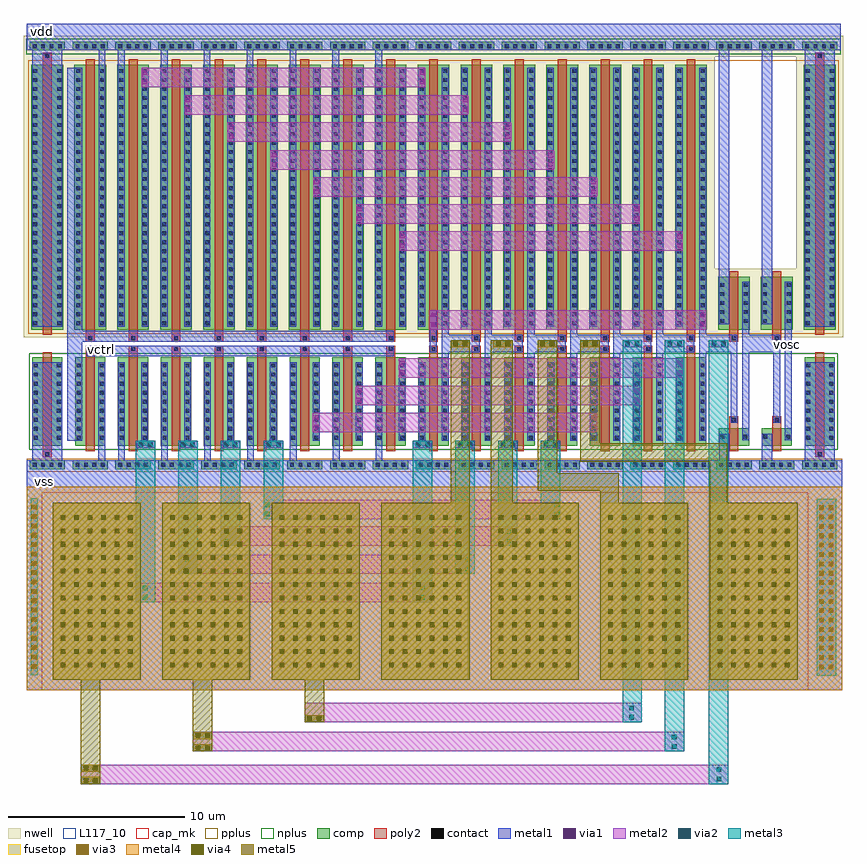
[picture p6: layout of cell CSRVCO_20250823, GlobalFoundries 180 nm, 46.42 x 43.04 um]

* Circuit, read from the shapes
.subckt CSRVCO_20250823 vctrl vdd vosc vss
XM1 vss vss vss vss nfet_03v3 w=5u l=0.5u m=2
XM2 vss vctrl n1 vss nfet_03v3 w=5u l=0.5u
XM3 n2 vctrl vss vss nfet_03v3 w=5u l=0.5u
XM4 n3 vctrl vss vss nfet_03v3 w=5u l=0.5u
XM5 n4 vctrl vss vss nfet_03v3 w=5u l=0.5u
XM6 n5 vctrl vss vss nfet_03v3 w=5u l=0.5u
XM7 n6 vctrl vss vss nfet_03v3 w=5u l=0.5u
XM8 n7 vctrl vss vss nfet_03v3 w=5u l=0.5u
XM9 n8 vctrl vss vss nfet_03v3 w=5u l=0.5u
XM10 n9 n10 n2 vss nfet_03v3 w=5u l=0.5u
XM11 n11 n9 n3 vss nfet_03v3 w=5u l=0.5u
XM12 n12 n11 n4 vss nfet_03v3 w=5u l=0.5u
XM13 n13 n12 n5 vss nfet_03v3 w=5u l=0.5u
XM14 n14 n13 n6 vss nfet_03v3 w=5u l=0.5u
XM15 n15 n14 n7 vss nfet_03v3 w=5u l=0.5u
XM16 n10 n15 n8 vss nfet_03v3 w=5u l=0.5u
XM17 n16 n10 vss vss nfet_03v3 w=1u l=0.5u
XM18 vosc n16 vss vss nfet_03v3 w=1u l=0.5u
XM19 vdd vdd vdd vdd pfet_03v3 w=15u l=0.5u m=2
XM20 vdd n1 n1 vdd pfet_03v3 w=15u l=0.5u
XM21 n17 n1 vdd vdd pfet_03v3 w=15u l=0.5u
XM22 n18 n1 vdd vdd pfet_03v3 w=15u l=0.5u
XM23 n19 n1 vdd vdd pfet_03v3 w=15u l=0.5u
XM24 n20 n1 vdd vdd pfet_03v3 w=15u l=0.5u
XM25 n21 n1 vdd vdd pfet_03v3 w=15u l=0.5u
XM26 n22 n1 vdd vdd pfet_03v3 w=15u l=0.5u
XM27 n23 n1 vdd vdd pfet_03v3 w=15u l=0.5u
XM28 n9 n10 n17 vdd pfet_03v3 w=15u l=0.5u
XM29 n11 n9 n18 vdd pfet_03v3 w=15u l=0.5u
XM30 n12 n11 n19 vdd pfet_03v3 w=15u l=0.5u
XM31 n13 n12 n20 vdd pfet_03v3 w=15u l=0.5u
XM32 n14 n13 n21 vdd pfet_03v3 w=15u l=0.5u
XM33 n15 n14 n22 vdd pfet_03v3 w=15u l=0.5u
XM34 n10 n15 n23 vdd pfet_03v3 w=15u l=0.5u
XM35 n16 n10 vdd vdd pfet_03v3 w=3u l=0.5u
XM36 vosc n16 vdd vdd pfet_03v3 w=3u l=0.5u
XC37 n10 vss cap_mim_2f0fF c_width=5u c_length=10u
XC38 n15 vss cap_mim_2f0fF c_width=5u c_length=10u
XC39 n14 vss cap_mim_2f0fF c_width=5u c_length=10u
XC40 n9 vss cap_mim_2f0fF c_width=5u c_length=10u
XC41 n11 vss cap_mim_2f0fF c_width=5u c_length=10u
XC42 n12 vss cap_mim_2f0fF c_width=5u c_length=10u
XC43 n13 vss cap_mim_2f0fF c_width=5u c_length=10u
.ends

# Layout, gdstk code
from math import pi, radians
import gdstk
lib = gdstk.Library(unit=1e-6, precision=5e-09)
def R(c, l, rs):  # rectangles x0, y0, x1, y1
    for r in rs: c.add(gdstk.rectangle(r[:2], r[2:], *l))
def A(c, l, x, y, w, h, nx, ny, dx, dy):  # array of equal rectangles
    R(c, l, [(x+i*dx, y+j*dy, x+i*dx+w, y+j*dy+h) for i in range(nx) for j in range(ny)])
nwell = (21, 0)
comp = (22, 0)
poly2 = (30, 0)
pplus = (31, 0)
nplus = (32, 0)
contact = (33, 0)
metal1 = (34, 0)
via1 = (35, 0)
metal2 = (36, 0)
via2 = (38, 0)
via3 = (40, 0)
via4 = (41, 0)
metal3 = (42, 0)
metal4 = (46, 0)
fusetop = (75, 0)
metal5 = (81, 0)
cap_mk = (117, 5)
L117_10 = (117, 10)

via_dev_780 = lib.new_cell('via_dev$780')
R(via_dev_780, comp, [(0,0,2,0.5)])
A(via_dev_780, contact, 0.17, 0.14, 0.22, 0.22, 4, 1, 0.48, 0)
R(via_dev_780, metal1, [(0,0,2,0.5)])

nfet_271 = lib.new_cell('nfet$271')
R(nfet_271, comp, [(-0.42,0,0,5), (0,0,0.88,5), (0.88,0,1.3,5)])
R(nfet_271, poly2, [(0.19,-0.3,0.69,5.3), (0.19,5.3,0.69,5.66)])
R(nfet_271, nplus, [(-0.59,-0.24,1.47,5.24)])
A(nfet_271, contact, -0.32, 0.35, 0.22, 0.22, 1, 9, 0, 0.51)
A(nfet_271, contact, 0.98, 0.35, 0.22, 0.22, 1, 9, 0, 0.51)
R(nfet_271, contact, [(0.33,5.37,0.55,5.59)])
R(nfet_271, metal1, [(-0.4,0.27,-0.02,4.73), (0.9,0.27,1.28,4.73), (0.25,5.29,0.63,5.67)])

pfet_256 = lib.new_cell('pfet$256')
R(pfet_256, nwell, [(-0.9,-0.44,1.78,15.44)])
R(pfet_256, comp, [(-0.46,0,0,15), (0,0,0.88,15), (0.88,0,1.34,15)])
R(pfet_256, poly2, [(0.19,-0.68,0.69,-0.3), (0.19,-0.3,0.69,15.3)])
R(pfet_256, pplus, [(-0.63,-0.24,1.51,15.24)])
A(pfet_256, contact, -0.34, 0.25, 0.22, 0.22, 1, 29, 0, 0.51)
A(pfet_256, contact, 1, 0.25, 0.22, 0.22, 1, 29, 0, 0.51)
R(pfet_256, contact, [(0.33,-0.6,0.55,-0.38)])
R(pfet_256, metal1, [(0.25,-0.68,0.63,-0.3), (-0.42,0.17,-0.04,14.83), (0.92,0.17,1.3,14.83)])

nfet_272 = lib.new_cell('nfet$272')
R(nfet_272, comp, [(-0.42,0,0,5), (0,0,0.88,5), (0.88,0,1.3,5)])
R(nfet_272, poly2, [(0.19,-0.66,0.69,-0.3), (0.19,-0.3,0.69,5.3)])
R(nfet_272, nplus, [(-0.59,-0.24,1.47,5.24)])
A(nfet_272, contact, -0.32, 0.35, 0.22, 0.22, 1, 9, 0, 0.51)
A(nfet_272, contact, 0.98, 0.35, 0.22, 0.22, 1, 9, 0, 0.51)
R(nfet_272, contact, [(0.33,-0.59,0.55,-0.37)])
R(nfet_272, metal1, [(0.25,-0.67,0.63,-0.29), (-0.4,0.27,-0.02,4.73), (0.9,0.27,1.28,4.73)])

via_dev_781 = lib.new_cell('via_dev$781')
R(via_dev_781, metal1, [(0,0,1.1,0.4)])
R(via_dev_781, via1, [(0.155,0.07,0.415,0.33), (0.685,0.07,0.945,0.33)])
R(via_dev_781, metal2, [(0,0,1.1,0.4)])

via_dev_782 = lib.new_cell('via_dev$782')
R(via_dev_782, metal1, [(0,0,1.1,0.4)])
R(via_dev_782, via1, [(0.155,0.07,0.415,0.33), (0.685,0.07,0.945,0.33)])
R(via_dev_782, metal2, [(0,0,1.1,0.4)])
R(via_dev_782, via2, [(0.155,0.07,0.415,0.33), (0.685,0.07,0.945,0.33)])
R(via_dev_782, metal3, [(0,0,1.1,0.4)])

cap_mim = lib.new_cell('cap_mim')
A(cap_mim, via4, 0.69, 0.47, 0.26, 0.26, 12, 6, 0.76, 0.76)
R(cap_mim, metal4, [(-0.6,-0.6,10.6,5.6)])
R(cap_mim, fusetop, [(0,0,10,5)])
R(cap_mim, metal5, [(0,0,10,5)])
R(cap_mim, cap_mk, [(-0.6,-0.6,10.6,5.6)])
R(cap_mim, L117_10, [(0,0,10,0.1)])

pfet_257 = lib.new_cell('pfet$257')
R(pfet_257, nwell, [(-0.9,-0.44,1.78,15.44)])
R(pfet_257, comp, [(-0.46,0,0,15), (0,0,0.88,15), (0.88,0,1.34,15)])
R(pfet_257, poly2, [(0.19,-0.3,0.69,15.3), (0.19,15.3,0.69,15.68)])
R(pfet_257, pplus, [(-0.63,-0.24,1.51,15.24)])
A(pfet_257, contact, -0.34, 0.25, 0.22, 0.22, 1, 29, 0, 0.51)
A(pfet_257, contact, 1, 0.25, 0.22, 0.22, 1, 29, 0, 0.51)
R(pfet_257, contact, [(0.33,15.38,0.55,15.6)])
R(pfet_257, metal1, [(-0.42,0.17,-0.04,14.83), (0.92,0.17,1.3,14.83), (0.25,15.3,0.63,15.68)])

via_dev_783 = lib.new_cell('via_dev$783')
R(via_dev_783, metal1, [(0,0,1.1,0.4)])
R(via_dev_783, via1, [(0.155,0.07,0.415,0.33), (0.685,0.07,0.945,0.33)])
R(via_dev_783, metal2, [(0,0,1.1,0.4)])
R(via_dev_783, via2, [(0.155,0.07,0.415,0.33), (0.685,0.07,0.945,0.33)])
R(via_dev_783, via3, [(0.155,0.07,0.415,0.33), (0.685,0.07,0.945,0.33)])
R(via_dev_783, via4, [(0.155,0.07,0.415,0.33), (0.685,0.07,0.945,0.33)])
R(via_dev_783, metal3, [(0,0,1.1,0.4)])
R(via_dev_783, metal4, [(0,0,1.1,0.4)])
R(via_dev_783, metal5, [(0,0,1.1,0.4)])

pfet_258 = lib.new_cell('pfet$258')
R(pfet_258, nwell, [(-0.9,-0.44,1.78,3.44)])
R(pfet_258, comp, [(-0.46,0,0,3), (0,0,0.88,3), (0.88,0,1.34,3)])
R(pfet_258, poly2, [(0.19,-0.68,0.69,-0.3), (0.19,-0.3,0.69,3.3)])
R(pfet_258, pplus, [(-0.63,-0.24,1.51,3.24)])
A(pfet_258, contact, -0.34, 0.37, 0.22, 0.22, 1, 5, 0, 0.51)
A(pfet_258, contact, 1, 0.37, 0.22, 0.22, 1, 5, 0, 0.51)
R(pfet_258, contact, [(0.33,-0.6,0.55,-0.38)])
R(pfet_258, metal1, [(0.25,-0.68,0.63,-0.3), (-0.42,0.29,-0.04,2.71), (0.92,0.29,1.3,2.71)])

via_dev_784 = lib.new_cell('via_dev$784')

via_dev_785 = lib.new_cell('via_dev$785')
R(via_dev_785, metal2, [(0,0,1.1,0.4)])
R(via_dev_785, via2, [(0.155,0.07,0.415,0.33), (0.685,0.07,0.945,0.33)])
R(via_dev_785, metal3, [(0,0,1.1,0.4)])

via_dev_786 = lib.new_cell('via_dev$786')
R(via_dev_786, metal1, [(0,0,10,0.4)])
A(via_dev_786, via1, 0.365, 0.07, 0.26, 0.26, 18, 1, 0.53, 0)
R(via_dev_786, metal2, [(0,0,10,0.4)])
A(via_dev_786, via2, 0.365, 0.07, 0.26, 0.26, 18, 1, 0.53, 0)
A(via_dev_786, via3, 0.365, 0.07, 0.26, 0.26, 18, 1, 0.53, 0)
R(via_dev_786, metal3, [(0,0,10,0.4)])
R(via_dev_786, metal4, [(0,0,10,0.4)])

via_dev_787 = lib.new_cell('via_dev$787')
R(via_dev_787, metal2, [(0,0,1.1,0.4)])
R(via_dev_787, via2, [(0.155,0.07,0.415,0.33), (0.685,0.07,0.945,0.33)])
R(via_dev_787, via3, [(0.155,0.07,0.415,0.33), (0.685,0.07,0.945,0.33)])
R(via_dev_787, via4, [(0.155,0.07,0.415,0.33), (0.685,0.07,0.945,0.33)])
R(via_dev_787, metal3, [(0,0,1.1,0.4)])
R(via_dev_787, metal4, [(0,0,1.1,0.4)])
R(via_dev_787, metal5, [(0,0,1.1,0.4)])

nfet_273 = lib.new_cell('nfet$273')
R(nfet_273, comp, [(-0.42,0,0,1), (0,0,0.88,1), (0.88,0,1.3,1)])
R(nfet_273, poly2, [(0.19,-0.3,0.69,1.3), (0.19,1.3,0.69,1.66)])
R(nfet_273, nplus, [(-0.59,-0.24,1.47,1.24)])
R(nfet_273, contact, [(-0.32,0.39,-0.1,0.61), (0.98,0.39,1.2,0.61), (0.33,1.37,0.55,1.59)])
R(nfet_273, metal1, [(-0.4,0.31,-0.02,0.69), (0.9,0.31,1.28,0.69), (0.25,1.29,0.63,1.67)])

via_dev_788 = lib.new_cell('via_dev$788')
R(via_dev_788, metal1, [(0,0,10,1.1)])
A(via_dev_788, via1, 0.365, 0.155, 0.26, 0.26, 18, 2, 0.53, 0.53)
R(via_dev_788, metal2, [(0,0,10,1.1)])
A(via_dev_788, via2, 0.365, 0.155, 0.26, 0.26, 18, 2, 0.53, 0.53)
A(via_dev_788, via3, 0.365, 0.155, 0.26, 0.26, 18, 2, 0.53, 0.53)
R(via_dev_788, metal3, [(0,0,10,1.1)])
R(via_dev_788, metal4, [(0,0,10,1.1)])

csrvco_20250823 = lib.new_cell('CSRVCO_20250823')
A(csrvco_20250823, nwell, -82.58, 23.08, 2.68, 1.185, 19, 1, 2.43, 0)
A(csrvco_20250823, pplus, -82.39, -0.415, 2.435, 0.75, 19, 1, 2.43, 0)
A(csrvco_20250823, pplus, -80.17, 7.4, 0.29, 15.48, 18, 1, 2.43, 0)
R(csrvco_20250823, pplus, [(-43.43,10.88,-41.29,22.88), (-41,10.88,-38.86,22.88)])
A(csrvco_20250823, nplus, -80.21, 0.82, 0.37, 5.48, 18, 1, 2.43, 0)
A(csrvco_20250823, nplus, -82.425, 23.24, 2.385, 0.865, 19, 1, 2.43, 0)
A(csrvco_20250823, nplus, -80.04, 23.24, 0.045, 0.865, 18, 1, 2.43, 0)
R(csrvco_20250823, nplus, [(-43.39,2.3,-41.33,6.3), (-40.96,2.3,-38.9,6.3)])
A(csrvco_20250823, metal1, -82.39, -1.275, 2.43, 1.5, 19, 1, 2.43, 0)
A(csrvco_20250823, metal1, -82.39, -0.275, 0.15, 0.5, 19, 2, 2.43, 23.715)
A(csrvco_20250823, metal1, -77.22, -0.275, 0.38, 1.99, 7, 1, 2.43, 0)
A(csrvco_20250823, metal1, -58.91, 1.33, 0.4, 21.14, 7, 1, 2.43, 0)
A(csrvco_20250823, metal1, -59.56, 6.35, 0.38, 0.99, 7, 1, 2.43, 0)
A(csrvco_20250823, metal1, -58.91, 6.35, 2.16, 0.99, 8, 1, 2.43, 0)
A(csrvco_20250823, metal1, -77.24, 19.93, 0.38, 4.01, 7, 1, 2.43, 0)
A(csrvco_20250823, metal1, -82.39, 23.44, 2.35, 1.5, 19, 1, 2.43, 0)
A(csrvco_20250823, metal1, -80.04, 23.44, 0.08, 1.5, 18, 1, 2.43, 0)
R(csrvco_20250823, metal1, [(-82.39,-12.78,-36.22,-1.275), (-82.08,-0.275,-80.4,5.79), (-78.35,-0.275,-77.97,1.715), (-43.2,-0.275,-42.61,1.75), (-40.77,-0.275,-40.185,1.75), (-38.34,-0.275,-36.66,5.79), (-80.095,1.33,-79.27,22.47), (-41.9,1.37,-41.5,10.35), (-39.47,1.37,-39.07,10.35), (-42.55,2.35,-42.17,7.34), (-40.12,2.35,-39.74,7.34), (-79,6.115,-61.61,6.73), (-59.58,6.35,-59.18,7.64), (-80.095,6.96,-61.61,7.575), (-82.1,7.81,-80.38,23.94), (-38.36,7.81,-36.64,23.94), (-43.22,7.93,-42.61,23.94), (-40.79,7.93,-40.18,23.94), (-78.33,19.935,-77.95,23.945)])
R(csrvco_20250823, metal2, [(-79.34,-18.095,-42.67,-16.995), (-72.99,-16.245,-45.165,-15.145), (-66.67,-14.6,-47.565,-13.5), (-76.225,-7.805,-59.435,-6.705), (-73.825,-6.2,-57.03,-5.1), (-71.415,-4.61,-54.615,-3.51), (-68.97,-3.095,-52.19,-1.995), (-66.2,1.835,-50.11,2.94), (-63.77,3.365,-47.68,4.47), (-61.34,4.92,-45.25,6.025), (-59.58,7.64,-43.93,8.74), (-61.32,12.105,-45.25,13.21), (-63.75,13.64,-47.68,14.745), (-66.18,15.17,-50.11,16.275), (-68.61,16.695,-52.54,17.8), (-71.04,18.28,-54.97,19.385), (-73.465,19.81,-57.395,20.915), (-75.9,21.37,-59.83,22.475)])
R(csrvco_20250823, metal3, [(-43.77,-18.095,-42.67,6.635), (-46.265,-16.245,-45.165,6.635), (-48.665,-14.6,-47.565,7.035), (-76.225,-7.805,-75.125,0.93), (-60.535,-7.805,-59.435,0.93), (-73.825,-6.2,-72.725,1.33), (-58.13,-6.2,-57.03,0.93), (-71.415,-4.61,-70.315,1.33), (-55.71,-4.61,-54.615,1.33), (-68.97,-3.095,-67.87,1.33), (-53.29,-3.095,-52.19,1.33)])
R(csrvco_20250823, metal4, [(-82.39,-12.78,-36.22,-1.275)])
R(csrvco_20250823, metal5, [(-79.34,-18.095,-78.24,-12.18), (-72.99,-16.245,-71.89,-12.18), (-66.67,-14.6,-65.57,-12.18), (-58.405,-12.18,-57.305,7.035), (-56.14,-2.18,-54.88,7.035), (-49.94,-2.18,-48.885,-1.5), (-43.74,-2.18,-42.73,0.145), (-53.475,-1.5,-52.375,6.635), (-53.475,-1.5,-48.885,-0.495), (-51.055,0.145,-49.955,6.635), (-51.055,0.145,-42.73,1.205)])
csrvco_20250823.add(gdstk.Reference(via_dev_780, (-60.37,23.44)))
csrvco_20250823.add(gdstk.Reference(via_dev_780, (-60.37,-0.275)))
csrvco_20250823.add(gdstk.Reference(nfet_271, (-52.52,1.06)))
csrvco_20250823.add(gdstk.Reference(nfet_271, (-54.95,1.06)))
csrvco_20250823.add(gdstk.Reference(nfet_271, (-57.38,1.06)))
csrvco_20250823.add(gdstk.Reference(pfet_256, (-59.81,7.64)))
csrvco_20250823.add(gdstk.Reference(nfet_271, (-59.81,1.06)))
csrvco_20250823.add(gdstk.Reference(nfet_271, (-45.23,1.06)))
csrvco_20250823.add(gdstk.Reference(nfet_271, (-50.09,1.06)))
csrvco_20250823.add(gdstk.Reference(nfet_272, (-37.94,1.06)))
csrvco_20250823.add(gdstk.Reference(nfet_271, (-74.39,1.06)))
csrvco_20250823.add(gdstk.Reference(nfet_271, (-76.82,1.06)))
csrvco_20250823.add(gdstk.Reference(nfet_271, (-79.25,1.06)))
csrvco_20250823.add(gdstk.Reference(nfet_272, (-81.68,1.06)))
csrvco_20250823.add(gdstk.Reference(nfet_271, (-64.67,1.06)))
csrvco_20250823.add(gdstk.Reference(nfet_271, (-67.1,1.06)))
csrvco_20250823.add(gdstk.Reference(nfet_271, (-69.53,1.06)))
csrvco_20250823.add(gdstk.Reference(nfet_271, (-71.96,1.06)))
csrvco_20250823.add(gdstk.Reference(nfet_271, (-62.24,1.06)))
csrvco_20250823.add(gdstk.Reference(nfet_271, (-47.66,1.06)))
csrvco_20250823.add(gdstk.Reference(via_dev_781, (-50.11,1.835), rotation=pi/2))
csrvco_20250823.add(gdstk.Reference(via_dev_781, (-65.8,1.84), rotation=pi/2))
csrvco_20250823.add(gdstk.Reference(via_dev_782, (-60.535,0.93)))
csrvco_20250823.add(gdstk.Reference(cap_mim, (-57.34,-12.18), rotation=pi/2))
csrvco_20250823.add(gdstk.Reference(via_dev_782, (-46.265,6.635)))
csrvco_20250823.add(gdstk.Reference(pfet_256, (-52.52,7.64)))
csrvco_20250823.add(gdstk.Reference(pfet_257, (-37.94,7.64)))
csrvco_20250823.add(gdstk.Reference(via_dev_780, (-55.51,23.44)))
csrvco_20250823.add(gdstk.Reference(via_dev_780, (-38.5,23.44)))
csrvco_20250823.add(gdstk.Reference(via_dev_783, (-53.475,6.635)))
csrvco_20250823.add(gdstk.Reference(pfet_256, (-57.38,7.64)))
csrvco_20250823.add(gdstk.Reference(via_dev_783, (-57.305,7.035), rotation=pi))
csrvco_20250823.add(gdstk.Reference(pfet_256, (-45.23,7.64)))
csrvco_20250823.add(gdstk.Reference(via_dev_780, (-57.94,23.44)))
csrvco_20250823.add(gdstk.Reference(via_dev_783, (-51.055,6.635)))
csrvco_20250823.add(gdstk.Reference(via_dev_782, (-43.77,6.635)))
csrvco_20250823.add(gdstk.Reference(via_dev_780, (-53.08,23.44)))
csrvco_20250823.add(gdstk.Reference(via_dev_783, (-55.98,6.635)))
csrvco_20250823.add(gdstk.Reference(via_dev_782, (-48.665,6.635)))
csrvco_20250823.add(gdstk.Reference(via_dev_780, (-50.65,23.44)))
csrvco_20250823.add(gdstk.Reference(via_dev_780, (-43.36,23.44)))
csrvco_20250823.add(gdstk.Reference(pfet_258, (-42.8,7.64)))
csrvco_20250823.add(gdstk.Reference(via_dev_780, (-40.93,23.44)))
csrvco_20250823.add(gdstk.Reference(pfet_258, (-40.37,7.64)))
csrvco_20250823.add(gdstk.Reference(pfet_256, (-54.95,7.64)))
csrvco_20250823.add(gdstk.Reference(via_dev_781, (-59.18,7.64), rotation=pi/2))
csrvco_20250823.add(gdstk.Reference(via_dev_781, (-43.93,7.64), rotation=pi/2))
csrvco_20250823.add(gdstk.Reference(via_dev_781, (-57.395,19.81), rotation=pi/2))
csrvco_20250823.add(gdstk.Reference(via_dev_781, (-54.97,18.28), rotation=pi/2))
csrvco_20250823.add(gdstk.Reference(via_dev_781, (-52.54,16.695), rotation=pi/2))
csrvco_20250823.add(gdstk.Reference(via_dev_781, (-50.11,15.17), rotation=pi/2))
csrvco_20250823.add(gdstk.Reference(via_dev_781, (-47.68,13.64), rotation=pi/2))
csrvco_20250823.add(gdstk.Reference(via_dev_781, (-45.25,12.105), rotation=pi/2))
csrvco_20250823.add(gdstk.Reference(via_dev_781, (-45.25,4.92), rotation=pi/2))
csrvco_20250823.add(gdstk.Reference(via_dev_781, (-47.68,3.365), rotation=pi/2))
csrvco_20250823.add(gdstk.Reference(via_dev_780, (-45.79,23.44)))
csrvco_20250823.add(gdstk.Reference(pfet_256, (-47.66,7.64)))
csrvco_20250823.add(gdstk.Reference(via_dev_780, (-48.22,23.44)))
csrvco_20250823.add(gdstk.Reference(pfet_256, (-50.09,7.64)))
csrvco_20250823.add(gdstk.Reference(pfet_256, (-76.82,7.64)))
csrvco_20250823.add(gdstk.Reference(via_dev_780, (-72.52,23.44)))
csrvco_20250823.add(gdstk.Reference(pfet_256, (-64.67,7.64)))
csrvco_20250823.add(gdstk.Reference(pfet_256, (-74.39,7.64)))
csrvco_20250823.add(gdstk.Reference(via_dev_780, (-77.38,23.44)))
csrvco_20250823.add(gdstk.Reference(via_dev_780, (-65.23,23.44)))
csrvco_20250823.add(gdstk.Reference(via_dev_781, (-75.5,21.375), rotation=pi/2))
csrvco_20250823.add(gdstk.Reference(via_dev_781, (-59.83,21.37), rotation=pi/2))
csrvco_20250823.add(gdstk.Reference(via_dev_781, (-73.065,19.815), rotation=pi/2))
csrvco_20250823.add(gdstk.Reference(pfet_256, (-67.1,7.64)))
csrvco_20250823.add(gdstk.Reference(via_dev_781, (-70.64,18.285), rotation=pi/2))
csrvco_20250823.add(gdstk.Reference(pfet_256, (-79.25,7.64)))
csrvco_20250823.add(gdstk.Reference(via_dev_781, (-68.21,16.7), rotation=pi/2))
csrvco_20250823.add(gdstk.Reference(via_dev_780, (-67.66,23.44)))
csrvco_20250823.add(gdstk.Reference(via_dev_781, (-65.78,15.175), rotation=pi/2))
csrvco_20250823.add(gdstk.Reference(pfet_256, (-69.53,7.64)))
csrvco_20250823.add(gdstk.Reference(via_dev_781, (-63.35,13.645), rotation=pi/2))
csrvco_20250823.add(gdstk.Reference(via_dev_780, (-82.24,23.44)))
csrvco_20250823.add(gdstk.Reference(via_dev_781, (-60.92,12.11), rotation=pi/2))
csrvco_20250823.add(gdstk.Reference(via_dev_780, (-70.09,23.44)))
csrvco_20250823.add(gdstk.Reference(via_dev_781, (-60.94,4.925), rotation=pi/2))
csrvco_20250823.add(gdstk.Reference(pfet_256, (-71.96,7.64)))
csrvco_20250823.add(gdstk.Reference(via_dev_781, (-63.37,3.37), rotation=pi/2))
csrvco_20250823.add(gdstk.Reference(via_dev_780, (-74.95,23.44)))
csrvco_20250823.add(gdstk.Reference(pfet_256, (-62.24,7.64)))
csrvco_20250823.add(gdstk.Reference(via_dev_780, (-79.81,23.44)))
csrvco_20250823.add(gdstk.Reference(via_dev_780, (-62.8,23.44)))
csrvco_20250823.add(gdstk.Reference(pfet_257, (-81.68,7.64)))
csrvco_20250823.add(gdstk.Reference(via_dev_780, (-79.81,-0.275)))
csrvco_20250823.add(gdstk.Reference(via_dev_780, (-62.8,-0.275)))
csrvco_20250823.add(gdstk.Reference(via_dev_780, (-67.66,-0.275)))
csrvco_20250823.add(gdstk.Reference(via_dev_780, (-72.52,-0.275)))
csrvco_20250823.add(gdstk.Reference(via_dev_780, (-77.38,-0.275)))
csrvco_20250823.add(gdstk.Reference(via_dev_784, (-83.04,-0.865), rotation=pi/2))
csrvco_20250823.add(gdstk.Reference(via_dev_780, (-70.09,-0.275)))
csrvco_20250823.add(gdstk.Reference(via_dev_784, (-80.61,-0.865), rotation=pi/2))
csrvco_20250823.add(gdstk.Reference(via_dev_780, (-65.23,-0.275)))
csrvco_20250823.add(gdstk.Reference(via_dev_782, (-68.97,0.93)))
csrvco_20250823.add(gdstk.Reference(via_dev_782, (-71.415,0.93)))
csrvco_20250823.add(gdstk.Reference(via_dev_782, (-73.825,0.93)))
csrvco_20250823.add(gdstk.Reference(via_dev_782, (-76.225,0.93)))
csrvco_20250823.add(gdstk.Reference(via_dev_785, (-68.565,-3.095), rotation=pi/2))
csrvco_20250823.add(gdstk.Reference(via_dev_785, (-70.855,-4.61), rotation=pi/2))
csrvco_20250823.add(gdstk.Reference(via_dev_785, (-73.135,-6.2), rotation=pi/2))
csrvco_20250823.add(gdstk.Reference(via_dev_785, (-59.76,-7.805), rotation=pi/2))
csrvco_20250823.add(gdstk.Reference(via_dev_785, (-75.49,-7.805), rotation=pi/2))
csrvco_20250823.add(gdstk.Reference(via_dev_780, (-82.24,-0.275)))
csrvco_20250823.add(gdstk.Reference(cap_mim, (-63.54,-12.18), rotation=pi/2))
csrvco_20250823.add(gdstk.Reference(cap_mim, (-69.74,-12.18), rotation=pi/2))
csrvco_20250823.add(gdstk.Reference(cap_mim, (-75.94,-12.18), rotation=pi/2))
csrvco_20250823.add(gdstk.Reference(via_dev_786, (-81.78,-11.925), rotation=pi/2))
csrvco_20250823.add(gdstk.Reference(via_dev_787, (-72.99,-16.245)))
csrvco_20250823.add(gdstk.Reference(via_dev_787, (-72.99,-15.56)))
csrvco_20250823.add(gdstk.Reference(via_dev_787, (-66.67,-14.595)))
csrvco_20250823.add(gdstk.Reference(via_dev_787, (-79.34,-18.095)))
csrvco_20250823.add(gdstk.Reference(via_dev_787, (-79.34,-17.395)))
csrvco_20250823.add(gdstk.Reference(via_dev_780, (-74.95,-0.275)))
csrvco_20250823.add(gdstk.Reference(via_dev_785, (-52.19,-3.095), rotation=pi/2))
csrvco_20250823.add(gdstk.Reference(via_dev_785, (-45.535,-16.245), rotation=pi/2))
csrvco_20250823.add(gdstk.Reference(via_dev_785, (-54.9,-4.61), rotation=pi/2))
csrvco_20250823.add(gdstk.Reference(via_dev_780, (-55.51,-0.275)))
csrvco_20250823.add(gdstk.Reference(via_dev_785, (-57.235,-6.2), rotation=pi/2))
csrvco_20250823.add(gdstk.Reference(via_dev_780, (-57.94,-0.275)))
csrvco_20250823.add(gdstk.Reference(via_dev_780, (-48.22,-0.275)))
csrvco_20250823.add(gdstk.Reference(via_dev_780, (-43.36,-0.275)))
csrvco_20250823.add(gdstk.Reference(cap_mim, (-38.74,-12.18), rotation=pi/2))
csrvco_20250823.add(gdstk.Reference(cap_mim, (-44.94,-12.18), rotation=pi/2))
csrvco_20250823.add(gdstk.Reference(cap_mim, (-51.14,-12.18), rotation=pi/2))
csrvco_20250823.add(gdstk.Reference(nfet_273, (-42.8,1.06)))
csrvco_20250823.add(gdstk.Reference(via_dev_780, (-38.5,-0.275)))
csrvco_20250823.add(gdstk.Reference(via_dev_780, (-50.65,-0.275)))
csrvco_20250823.add(gdstk.Reference(via_dev_782, (-53.29,0.93)))
csrvco_20250823.add(gdstk.Reference(via_dev_782, (-55.71,0.93)))
csrvco_20250823.add(gdstk.Reference(via_dev_788, (-36.575,-11.955), rotation=pi/2))
csrvco_20250823.add(gdstk.Reference(via_dev_785, (-43,-18.095), rotation=pi/2))
csrvco_20250823.add(gdstk.Reference(via_dev_782, (-58.13,0.93)))
csrvco_20250823.add(gdstk.Reference(via_dev_780, (-40.93,-0.275)))
csrvco_20250823.add(gdstk.Reference(nfet_273, (-40.37,1.06)))
csrvco_20250823.add(gdstk.Reference(via_dev_780, (-53.08,-0.275)))
csrvco_20250823.add(gdstk.Reference(via_dev_780, (-45.79,-0.275)))
csrvco_20250823.add(gdstk.Reference(via_dev_785, (-47.955,-14.6), rotation=pi/2))
csrvco_20250823.add(gdstk.Label('vctrl', (-78.155,6.53), layer=34, texttype=10))
csrvco_20250823.add(gdstk.Label('vosc', (-39.305,6.79), layer=34, texttype=10))
csrvco_20250823.add(gdstk.Label('vdd', (-81.49,24.515), layer=34, texttype=10))
csrvco_20250823.add(gdstk.Label('vss', (-81.41,-0.945), layer=34, texttype=10))

lib.write_gds('CSRVCO_20250823.gds')
